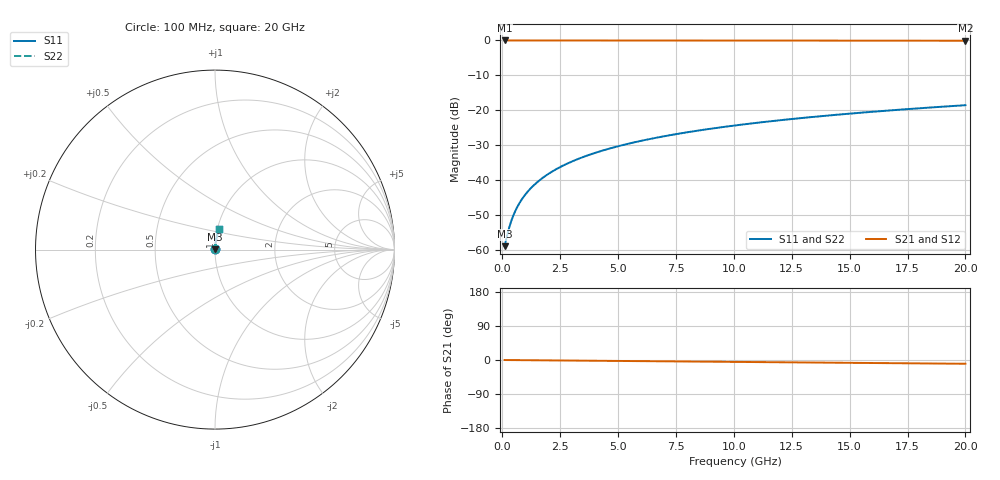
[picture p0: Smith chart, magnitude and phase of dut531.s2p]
! Touchstone file exported from HFSS 2026.1.0
!  File:  C:/ffzhzh/LocalFiles/Ansys_Project_Files/temp_train_TSV_531_1783023776_51716.aedt
!  Generated:  04:25:44 AM Jul  3, 2026
!  Design:  TSV
!  Project:  temp_train_TSV_531_1783023776_51716
! Variables:
!  h_bsmrdl = 2um
!  h_ox = 20um
!  h_rdl = 5um
!  h_sub = 66.58um
!  h_tmrdl = 5um
!  h_tsv = 66.58um
!  h_via = 3um
!  l_bsmrdl = 300um
!  l_sub = 405.8um
!  l_tmrdl = 200um
!  m_sub = 200um
!  pitch = 48.7um
!  r_tsv = 2.9um
!  s_tmrdl = 10um
!  w_bsmrdl = 18um
!  w_sub = 500um
!  w_tmrdl = 12um
!  x_tsv_center1 = 206um
!  x_tsv_center2 = 524um
!  x_tsv_center3 = 736um
!  x_tsv_center4 = 1054um
!  x_tsv_center5 = 1266um
!  x_tsv_center6 = 1584um
# GHz S MA R 50.000000
! Terminal data exported
! Port[1] = TSV1_1_T1
! Port[2] = TSV1_1_T2
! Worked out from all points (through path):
!   200 points, 100 MHz to 20 GHz, reference 50 ohm
!   highest |S21| = -0.01 dB at 100 MHz (marker M1); lowest = -0.1 dB at 20 GHz (marker M2)
!   group delay of S21, straight-line fit = 1.38 ps
!   lowest |S11| = -59.0 dB at 100 MHz (marker M3), VSWR 1.00, Z = 50.1 + j0.0621 ohm
!   |S11| at or under -10 dB: start of sweep to end of sweep
!   |S22| runs from -59.0 to -18.6 dB; largest |S21 - S12| = 3.6e-15
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0.1  0.001121 33.5  0.9991 -0.1  0.9991 -0.1  0.001121 33.5
! Gamma 0 0 0 0
! Port Impedance 50 0 50 0
0.2  0.001554 52.7  0.9991 -0.1  0.9991 -0.1  0.001554 52.7
0.3  0.002081 62.8  0.9991 -0.2  0.9991 -0.2  0.002081 62.8
0.4  0.002644 68.6  0.999 -0.2  0.999 -0.2  0.002644 68.6
0.5  0.003223 72.4  0.999 -0.3  0.999 -0.3  0.003223 72.4
0.6  0.00381 75.0  0.999 -0.3  0.999 -0.3  0.00381 75.0
0.8  0.005 78.3  0.999 -0.4  0.999 -0.4  0.005 78.3
1.1  0.006803 81.1  0.999 -0.6  0.999 -0.6  0.006803 81.1
1.5  0.00922 82.9  0.9989 -0.8  0.9989 -0.8  0.00922 82.9
1.8  0.01104 83.7  0.9989 -0.9  0.9989 -0.9  0.01104 83.7
2.1  0.01286 84.3  0.9989 -1.1  0.9989 -1.1  0.01286 84.3
2.7  0.01649 84.8  0.9988 -1.4  0.9988 -1.4  0.01649 84.8
3.5  0.02134 85.1  0.9986 -1.8  0.9986 -1.8  0.02134 85.1
4.2  0.02556 85.1  0.9984 -2.1  0.9984 -2.1  0.02556 85.1
5  0.03037 84.9  0.9982 -2.5  0.9982 -2.5  0.03037 84.9
5.9  0.03577 84.7  0.9979 -3.0  0.9979 -3.0  0.03577 84.7
6.8  0.04114 84.4  0.9976 -3.4  0.9976 -3.4  0.04114 84.4
8.3  0.05003 83.8  0.997 -4.2  0.997 -4.2  0.05003 83.8
10.1  0.06063 83.0  0.9962 -5.1  0.9962 -5.1  0.06063 83.0
13.4  0.07989 81.6  0.9945 -6.7  0.9945 -6.7  0.07989 81.6
16.7  0.09893 80.1  0.9924 -8.3  0.9924 -8.3  0.09893 80.1
20  0.1178 78.7  0.9901 -9.9  0.9901 -9.9  0.1178 78.7
